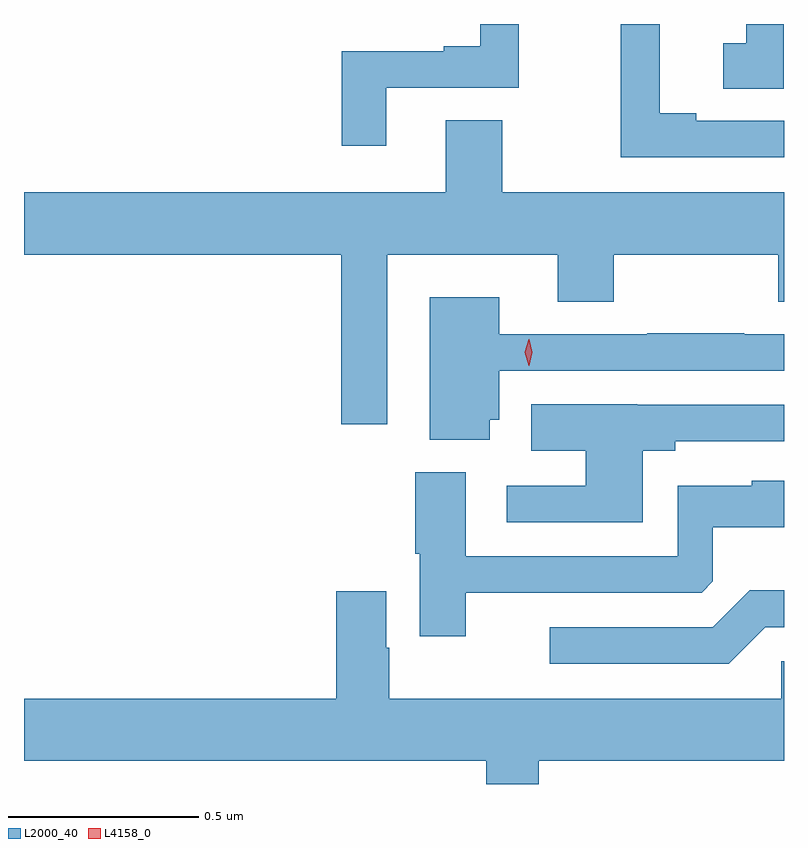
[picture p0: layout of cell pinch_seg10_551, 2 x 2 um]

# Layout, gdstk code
import gdstk
lib = gdstk.Library(unit=1e-6, precision=1e-09)
def P(c, l, *ps):  # polygons
    for p in ps: c.add(gdstk.Polygon(p, *l))
L2000_40 = (2000, 40)
L4158_0 = (4158, 0)

pinch_seg10_551 = lib.new_cell('pinch_seg10_551')
P(pinch_seg10_551, L2000_40, [(196.132,1268.787),(196.481,1268.787),(196.481,1268.955),(196.379,1268.955),(196.379,1268.896),(196.283,1268.896),(196.283,1268.883),(196.015,1268.883),(196.015,1268.634),(196.132,1268.634)],
  [(197.178,1268.955),(197.08,1268.955),(197.08,1268.905),(197.019,1268.905),(197.019,1268.785),(197.178,1268.785)],
  [(197.179,1268.7),(196.948,1268.7),(196.948,1268.72),(196.852,1268.72),(196.852,1268.955),(196.75,1268.955),(196.75,1268.604),(197.179,1268.604)],
  [(196.135,1268.348),(196.583,1268.348),(196.583,1268.224),(196.731,1268.224),(196.731,1268.348),(197.164,1268.348),(197.164,1268.224),(197.179,1268.224),(197.179,1268.512),(196.437,1268.512),(196.437,1268.702),(196.289,1268.702),(196.289,1268.512),(195.179,1268.512),(195.179,1268.348),(196.014,1268.348),(196.014,1267.902),(196.135,1267.902)],
  [(196.405,1267.914),(196.429,1267.914),(196.429,1268.043),(197.179,1268.043),(197.179,1268.139),(197.075,1268.139),(197.075,1268.141),(196.819,1268.141),(196.819,1268.139),(196.429,1268.139),(196.429,1268.236),(196.247,1268.236),(196.247,1267.861),(196.405,1267.861)],
  [(196.807,1267.832),(196.893,1267.832),(196.893,1267.857),(197.179,1267.857),(197.179,1267.953),(196.793,1267.953),(196.793,1267.954),(196.514,1267.954),(196.514,1267.832),(196.657,1267.832),(196.657,1267.74),(196.449,1267.74),(196.449,1267.644),(196.807,1267.644)],
  [(196.342,1267.458),(196.962,1267.458),(196.992,1267.488),(196.992,1267.631),(197.179,1267.631),(197.179,1267.753),(197.094,1267.753),(197.094,1267.74),(196.899,1267.74),(196.899,1267.554),(196.342,1267.554),(196.342,1267.776),(196.208,1267.776),(196.208,1267.561),(196.22,1267.561),(196.22,1267.344),(196.342,1267.344)],
  [(197.13,1267.368),(197.179,1267.368),(197.179,1267.465),(197.089,1267.465),(196.992,1267.368),(196.563,1267.368),(196.563,1267.272),(197.034,1267.272)],
  [(196.395,1266.955),(196.533,1266.955),(196.533,1267.016),(197.179,1267.016),(197.179,1267.278),(197.172,1267.278),(197.172,1267.18),(196.14,1267.18),(196.14,1267.313),(196.132,1267.313),(196.132,1267.462),(196.001,1267.462),(196.001,1267.18),(195.179,1267.18),(195.179,1267.016),(196.395,1267.016)])
P(pinch_seg10_551, L4158_0, [(196.507,1268.056),(196.507,1268.056),(196.497,1268.091),(196.507,1268.126),(196.507,1268.126),(196.508,1268.126),(196.517,1268.091),(196.508,1268.056)])

lib.write_gds('pinch_seg10_551.gds')
